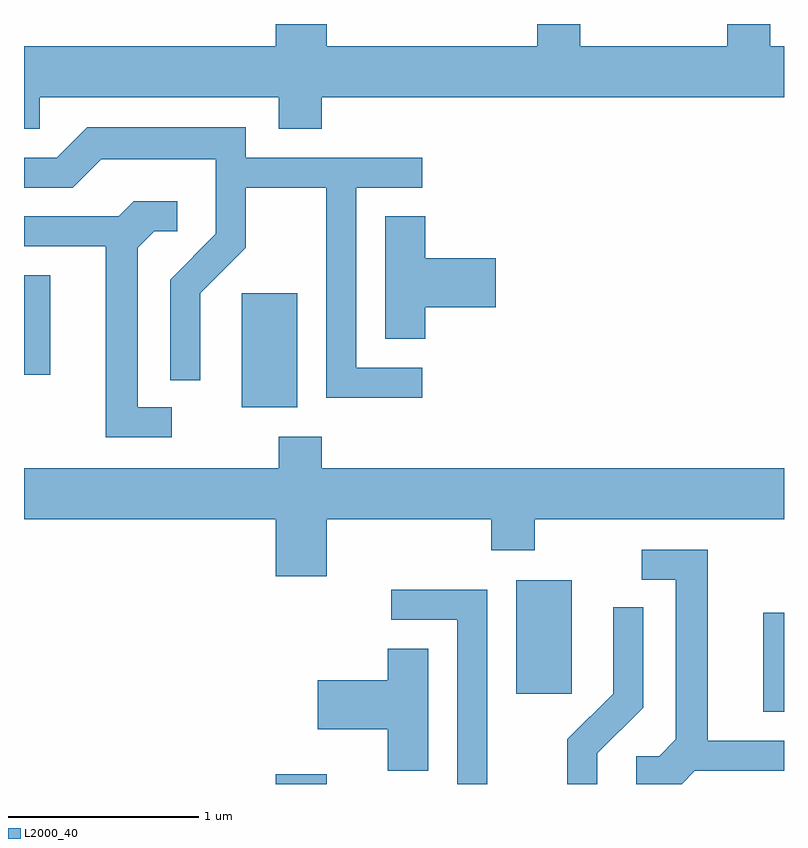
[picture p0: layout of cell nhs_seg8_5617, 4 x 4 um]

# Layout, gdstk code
import gdstk
lib = gdstk.Library(unit=1e-6, precision=1e-09)
def R(c, l, rs):  # rectangles x0, y0, x1, y1
    for r in rs: c.add(gdstk.rectangle(r[:2], r[2:], *l))
def P(c, l, *ps):  # polygons
    for p in ps: c.add(gdstk.Polygon(p, *l))
L2000_40 = (2000, 40)

nhs_seg8_5617 = lib.new_cell('nhs_seg8_5617')
R(nhs_seg8_5617, L2000_40, [(354.936,1848.342,355.204,1848.394), (357.501,1848.721,357.611,1849.244), (356.201,1848.816,356.494,1849.414), (354.756,1850.326,355.049,1850.924), (353.611,1850.496,353.749,1851.019)])
P(nhs_seg8_5617, L2000_40, [(353.694,1851.956),(354.951,1851.956),(354.951,1851.791),(355.179,1851.791),(355.179,1851.956),(357.611,1851.956),(357.611,1852.224),(357.539,1852.224),(357.539,1852.342),(357.311,1852.342),(357.311,1852.224),(356.539,1852.224),(356.539,1852.342),(356.311,1852.342),(356.311,1852.224),(355.204,1852.224),(355.204,1852.342),(354.936,1852.342),(354.936,1852.224),(353.611,1852.224),(353.611,1851.791),(353.694,1851.791)],
  [(355.708,1850.534),(355.359,1850.534),(355.359,1851.481),(355.708,1851.481),(355.708,1851.639),(354.779,1851.639),(354.779,1851.799),(353.944,1851.799),(353.784,1851.639),(353.611,1851.639),(353.611,1851.481),(353.867,1851.481),(354.017,1851.631),(354.621,1851.631),(354.621,1851.237),(354.381,1850.997),(354.381,1850.468),(354.539,1850.468),(354.539,1850.924),(354.779,1851.164),(354.779,1851.481),(355.201,1851.481),(355.201,1850.376),(355.708,1850.376)],
  [(354.388,1850.324),(354.209,1850.324),(354.209,1851.164),(354.297,1851.251),(354.418,1851.251),(354.418,1851.409),(354.189,1851.409),(354.109,1851.329),(353.611,1851.329),(353.611,1851.171),(354.041,1851.171),(354.041,1850.166),(354.388,1850.166)],
  [(355.724,1850.851),(356.094,1850.851),(356.094,1851.109),(355.724,1851.109),(355.724,1851.329),(355.511,1851.329),(355.511,1850.686),(355.724,1850.686)],
  [(355.204,1849.736),(356.071,1849.736),(356.071,1849.571),(356.299,1849.571),(356.299,1849.736),(357.611,1849.736),(357.611,1850.004),(355.179,1850.004),(355.179,1850.169),(354.951,1850.169),(354.951,1850.004),(353.611,1850.004),(353.611,1849.736),(354.936,1849.736),(354.936,1849.436),(355.204,1849.436)],
  [(357.142,1848.411),(357.611,1848.411),(357.611,1848.569),(357.209,1848.569),(357.209,1849.574),(356.863,1849.574),(356.863,1849.416),(357.041,1849.416),(357.041,1848.577),(356.954,1848.489),(356.833,1848.489),(356.833,1848.342),(357.073,1848.342)],
  [(356.049,1849.364),(355.543,1849.364),(355.543,1849.206),(355.891,1849.206),(355.891,1848.342),(356.049,1848.342)],
  [(356.629,1848.504),(356.869,1848.744),(356.869,1849.273),(356.711,1849.273),(356.711,1848.817),(356.471,1848.577),(356.471,1848.342),(356.629,1848.342)],
  [(355.739,1849.054),(355.526,1849.054),(355.526,1848.889),(355.156,1848.889),(355.156,1848.631),(355.526,1848.631),(355.526,1848.411),(355.739,1848.411)])

lib.write_gds('nhs_seg8_5617.gds')
